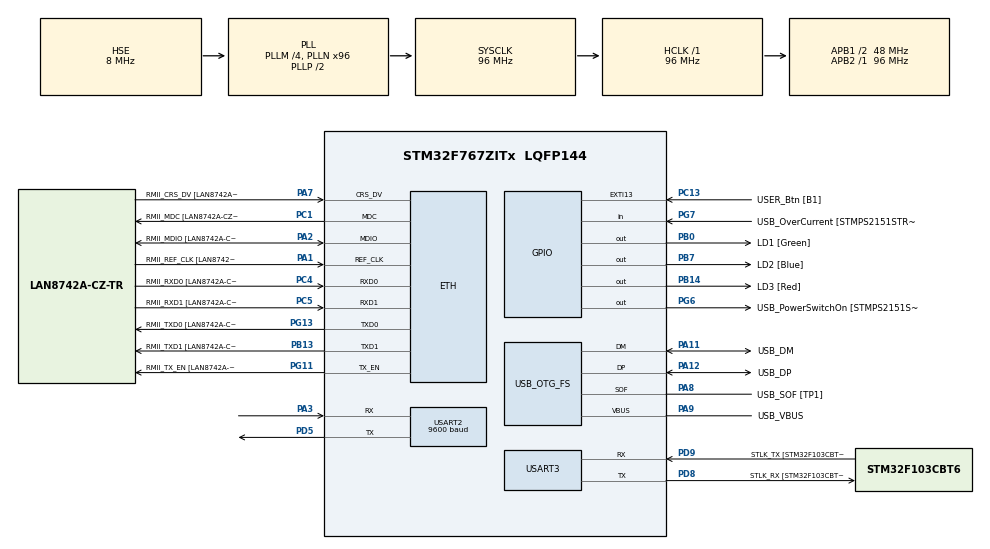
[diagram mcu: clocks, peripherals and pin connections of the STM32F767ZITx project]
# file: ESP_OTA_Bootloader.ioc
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ETH.MediaInterface=HAL_ETH_RMII_MODE
ETH.PHY_Name=LAN8742A_PHY_ADDRESS
ETH.PHY_Value=0
ETH.PhyAddress=0
Mcu.Family=STM32F7
Mcu.Name=STM32F767ZITx
Mcu.Package=LQFP144
NVIC.PriorityGroup=NVIC_PRIORITYGROUP_4
PA1.GPIO_Label=RMII_REF_CLK [LAN8742A-CZ-TR_REFCLK0]
PA1.Mode=RMII
PA1.Signal=ETH_REF_CLK
PA10.GPIO_Label=USB_ID
PA10.Signal=USB_OTG_FS_ID
PA11.GPIO_Label=USB_DM
PA11.Mode=Device_Only
PA11.Signal=USB_OTG_FS_DM
PA12.GPIO_Label=USB_DP
PA12.Mode=Device_Only
PA12.Signal=USB_OTG_FS_DP
PA13.GPIO_Label=TMS
PA13.Mode=Serial_Wire
PA13.Signal=SYS_JTMS-SWDIO
PA14.GPIO_Label=TCK
PA14.Mode=Serial_Wire
PA14.Signal=SYS_JTCK-SWCLK
PA2.GPIO_Label=RMII_MDIO [LAN8742A-CZ-TR_MDIO]
PA2.Mode=RMII
PA2.Signal=ETH_MDIO
PA3.Mode=Asynchronous
PA3.Signal=USART2_RX
PA7.GPIO_Label=RMII_CRS_DV [LAN8742A-CZ-TR_CRS_DV]
PA7.Mode=RMII
PA7.Signal=ETH_CRS_DV
PA8.GPIO_Label=USB_SOF [TP1]
PA8.Mode=Activate_SOF_FS
PA8.Signal=USB_OTG_FS_SOF
PA9.GPIO_Label=USB_VBUS
PA9.Mode=Activate_VBUS
PA9.Signal=USB_OTG_FS_VBUS
PB0.GPIO_Label=LD1 [Green]
PB0.Signal=GPIO_Output
PB13.GPIO_Label=RMII_TXD1 [LAN8742A-CZ-TR_TXD1]
PB13.Mode=RMII
PB13.Signal=ETH_TXD1
PB14.GPIO_Label=LD3 [Red]
PB14.Signal=GPIO_Output
PB3.GPIO_Label=SWO
PB3.Signal=SYS_JTDO-SWO
PB7.GPIO_Label=LD2 [Blue]
PB7.Signal=GPIO_Output
PC1.GPIO_Label=RMII_MDC [LAN8742A-CZ-TR_MDC]
PC1.Mode=RMII
PC1.Signal=ETH_MDC
PC13.GPIO_Label=USER_Btn [B1]
PC13.Signal=GPXTI13
PC14/OSC32_IN.Mode=LSE-External-Oscillator
PC14/OSC32_IN.Signal=RCC_OSC32_IN
PC15/OSC32_OUT.Mode=LSE-External-Oscillator
PC15/OSC32_OUT.Signal=RCC_OSC32_OUT
PC4.GPIO_Label=RMII_RXD0 [LAN8742A-CZ-TR_RXD0]
PC4.Mode=RMII
PC4.Signal=ETH_RXD0
PC5.GPIO_Label=RMII_RXD1 [LAN8742A-CZ-TR_RXD1]
PC5.Mode=RMII
PC5.Signal=ETH_RXD1
PD5.Mode=Asynchronous
PD5.Signal=USART2_TX
PD8.GPIO_Label=STLK_RX [STM32F103CBT6_PA3]
PD8.Mode=Asynchronous
PD8.Signal=USART3_TX
PD9.GPIO_Label=STLK_TX [STM32F103CBT6_PA2]
PD9.Mode=Asynchronous
PD9.Signal=USART3_RX
PG11.GPIO_Label=RMII_TX_EN [LAN8742A-CZ-TR_TXEN]
PG11.Mode=RMII
PG11.Signal=ETH_TX_EN
PG13.GPIO_Label=RMII_TXD0 [LAN8742A-CZ-TR_TXD0]
PG13.Mode=RMII
PG13.Signal=ETH_TXD0
PG6.GPIO_Label=USB_PowerSwitchOn [STMPS2151STR_EN]
PG6.Signal=GPIO_Output
PG7.GPIO_Label=USB_OverCurrent [STMPS2151STR_FAULT]
PG7.Signal=GPIO_Input
PH0/OSC_IN.GPIO_Label=MCO [STM32F103CBT6_PA8]
PH0/OSC_IN.Mode=HSE-External-Clock-Source
PH0/OSC_IN.Signal=RCC_OSC_IN
PH1/OSC_OUT.Mode=HSE-External-Clock-Source
PH1/OSC_OUT.Signal=RCC_OSC_OUT
ProjectManager.HeapSize=0x200
ProjectManager.StackSize=0x400
ProjectManager.TargetToolchain=STM32CubeIDE
RCC.48MHZClocksFreq_Value=24000000
RCC.AHBFreq_Value=96000000
RCC.APB1CLKDivider=RCC_HCLK_DIV2
RCC.APB1Freq_Value=48000000
RCC.APB1TimFreq_Value=96000000
RCC.APB2Freq_Value=96000000
RCC.APB2TimFreq_Value=96000000
RCC.CortexFreq_Value=96000000
RCC.HCLKFreq_Value=96000000
RCC.HSE_VALUE=8000000
RCC.HSI_VALUE=16000000
RCC.PLLM=4
RCC.PLLMUL=RCC_PLL_MUL9
RCC.PLLN=96
RCC.PLLQ=4
RCC.PRESCALERUSB=RCC_USBCLKSOURCE_PLL_DIV1_5
RCC.SYSCLKFreq_VALUE=96000000
RCC.SYSCLKSource=RCC_SYSCLKSOURCE_PLLCLK
RCC.SYSCLKSourceVirtual=RCC_SYSCLKSOURCE_PLLCLK
RCC.USBFreq_Value=48000000
RCC.VCOOutputFreq_Value=192000000
USART2.BaudRate=9600
USART2.VirtualMode-Asynchronous=VM_ASYNC
USART3.VirtualMode-Asynchronous=VM_ASYNC
USB_OTG_FS.VirtualMode=Device_Only
board=NUCLEO-F767ZI

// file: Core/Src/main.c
/* USER CODE BEGIN Header */
/**
  ******************************************************************************
  * @file           : main.c
  * @brief          : Main program body
  ******************************************************************************
  * @attention
  *
  * Copyright (c) 2026 STMicroelectronics.
  * All rights reserved.
  *
  * This software is licensed under terms that can be found in the LICENSE file
  * in the root directory of this software component.
  * If no LICENSE file comes with this software, it is provided AS-IS.
  *
  ******************************************************************************
  */
/* USER CODE END Header */
#include "main.h"
#include "string.h"

/* USER CODE BEGIN PTD */
#define MAIN_APP_ADDRESS 0x08020000

typedef void (*pFunction)(void);
/* USER CODE END PTD */

#if defined ( __ICCARM__ ) /*!< IAR Compiler */
#pragma location=0x2007c000
ETH_DMADescTypeDef  DMARxDscrTab[ETH_RX_DESC_CNT]; /* Ethernet Rx DMA Descriptors */
#pragma location=0x2007c0a0
ETH_DMADescTypeDef  DMATxDscrTab[ETH_TX_DESC_CNT]; /* Ethernet Tx DMA Descriptors */

#elif defined ( __CC_ARM )  /* MDK ARM Compiler */

__attribute__((at(0x2007c000))) ETH_DMADescTypeDef  DMARxDscrTab[ETH_RX_DESC_CNT]; /* Ethernet Rx DMA Descriptors */
__attribute__((at(0x2007c0a0))) ETH_DMADescTypeDef  DMATxDscrTab[ETH_TX_DESC_CNT]; /* Ethernet Tx DMA Descriptors */

#elif defined ( __GNUC__ ) /* GNU Compiler */

ETH_DMADescTypeDef DMARxDscrTab[ETH_RX_DESC_CNT] __attribute__((section(".RxDecripSection"))); /* Ethernet Rx DMA Descriptors */
ETH_DMADescTypeDef DMATxDscrTab[ETH_TX_DESC_CNT] __attribute__((section(".TxDecripSection")));   /* Ethernet Tx DMA Descriptors */
#endif

ETH_TxPacketConfig TxConfig;

ETH_HandleTypeDef heth;

UART_HandleTypeDef huart2;
UART_HandleTypeDef huart3;

PCD_HandleTypeDef hpcd_USB_OTG_FS;

void SystemClock_Config(void);
static void MX_GPIO_Init(void);
static void MX_ETH_Init(void);
static void MX_USART3_UART_Init(void);
static void MX_USB_OTG_FS_PCD_Init(void);
static void MX_USART2_UART_Init(void);

/* USER CODE BEGIN 0 */
void Erase_Application_Flash(void)
{
    FLASH_EraseInitTypeDef EraseInitStruct;
    uint32_t SectorError = 0;

    printf("Rozpoczynam kasowanie Sektora 5 (0x08020000)...\r\n");

    // 1. Zdejmujemy sprzętową kłódkę z pamięci Flash
    HAL_FLASH_Unlock();

    // 2. Konfigurujemy, co chcemy usunąć
    EraseInitStruct.TypeErase = FLASH_TYPEERASE_SECTORS;
    EraseInitStruct.VoltageRange = FLASH_VOLTAGE_RANGE_3; // Napięcie Nucleo (3.3V)
    EraseInitStruct.Sector = FLASH_SECTOR_5;              // Tu zaczyna się nasza aplikacja
    EraseInitStruct.NbSectors = 1;                        // Kasujemy 1 sektor (128 KB wolnego miejsca)

    // 3. Wykonujemy egzekucję
    if (HAL_FLASHEx_Erase(&EraseInitStruct, &SectorError) != HAL_OK)
    {
        printf("BLAD: Nie udalo sie wykasowac pamieci Flash!\r\n");
    }
    else
    {
        printf("SUKCES: Sektor 5 jest czysty i gotowy na nowy kod!\r\n");
    }

    // 4. Zakładamy kłódkę z powrotem
    HAL_FLASH_Lock();
}

void Write_Application_Flash(uint32_t start_address, uint8_t *data, uint16_t length)
{
    // 1. Otwieramy dostęp do pamięci
    HAL_FLASH_Unlock();

    // 2. Wypalamy bajt po bajcie (w potężnym STM32F7 robimy to ostrożnie)
    for (uint16_t i = 0; i < length; i++)
    {
        // FLASH_TYPEPROGRAM_BYTE oznacza, że zapisujemy równo 1 bajt (8 bitów)
        if (HAL_FLASH_Program(FLASH_TYPEPROGRAM_BYTE, start_address + i, data[i]) != HAL_OK)
        {
            printf("BLAD: Zapis do Flash nie powiodl sie na adresie 0x%lX\r\n", start_address + i);
            break;
        }
    }

    // 3. Zamykamy pamięć
    HAL_FLASH_Lock();
}
/* USER CODE END 0 */

int main(void)
{

  /* MCU Configuration--------------------------------------------------------*/

  /* Reset of all peripherals, Initializes the Flash interface and the Systick. */
  HAL_Init();

  /* Configure the system clock */
  SystemClock_Config();

  /* Initialize all configured peripherals */
  MX_GPIO_Init();
  MX_ETH_Init();
  MX_USART3_UART_Init();
  MX_USB_OTG_FS_PCD_Init();
  MX_USART2_UART_Init();
  /* USER CODE BEGIN 2 */

  HAL_GPIO_WritePin(LD2_GPIO_Port, LD2_Pin, GPIO_PIN_SET);
    Erase_Application_Flash();

    // WYŚLIJ SYGNAŁ START DO ESP8266
    uint8_t start_signal = 'S';
    HAL_UART_Transmit(&huart2, &start_signal, 1, 100);

    char msg_wait[] = "Wyslano START. Czekam na dane z ESP...\r\n";
    HAL_UART_Transmit(&huart3, (uint8_t*)msg_wait, strlen(msg_wait), 1000);

    uint8_t rx_byte;
    uint32_t current_address = MAIN_APP_ADDRESS;
    uint32_t timeout_counter = 0;
    uint8_t receiving_active = 0;

    // Odblokowujemy Flash do zapisu
    HAL_FLASH_Unlock();

    while(1)
      {
          if (HAL_UART_Receive(&huart2, &rx_byte, 1, 10) == HAL_OK)
          {
              receiving_active = 1;
              HAL_FLASH_Program(FLASH_TYPEPROGRAM_BYTE, current_address, rx_byte);
              current_address++;
              timeout_counter = 0;
          }
          else
          {
              timeout_counter++;
              // Jeśli dane już płynęły, czekamy 3 sekundy na koniec (300 * 10ms)
              if (receiving_active == 1 && timeout_counter > 300) break;
              // Jeśli dane jeszcze NIE zaczęły płynąć, czekamy do 60 sekund na start (6000 * 10ms)
              if (receiving_active == 0 && timeout_counter > 6000) break;
          }
      }
      HAL_FLASH_Lock();

    // ==========================================================
    // 4. SPRAWDZENIE APLIKACJI I SKOK (Twój stary kod)
    // ==========================================================
    if (((*(__IO uint32_t*)MAIN_APP_ADDRESS) & 0xFF000000 ) == 0x20000000)
    {
        char msg_jump[] = "Aplikacja poprawna! Skok za 3... 2... 1...\r\n";
        HAL_UART_Transmit(&huart3, (uint8_t*)msg_jump, strlen(msg_jump), 1000);

        HAL_GPIO_WritePin(LD2_GPIO_Port, LD2_Pin, GPIO_PIN_RESET); // Gasimy diodę przed skokiem
        HAL_Delay(1000);

        uint32_t JumpAddress = *(__IO uint32_t*) (MAIN_APP_ADDRESS + 4);
        pFunction JumpToApplication = (pFunction) JumpAddress;

        // Sprzątanie procesora
        HAL_UART_DeInit(&huart3);
        HAL_UART_DeInit(&huart2); // Odłączamy też UART od ESP
        HAL_RCC_DeInit();
        HAL_DeInit();
        SysTick->CTRL = 0;
        SysTick->LOAD = 0;
        SysTick->VAL = 0;
        __disable_irq();

        // Skok
        __set_MSP(*(__IO uint32_t*) MAIN_APP_ADDRESS);
        JumpToApplication();
    }
    else
    {
        char msg_err[] = "BRAK APLIKACJI! Zostaje w Bootloaderze.\r\n";
        HAL_UART_Transmit(&huart3, (uint8_t*)msg_err, strlen(msg_err), 1000);
    }

  /* USER CODE END 2 */

  /* Infinite loop */
  while (1)
  {

  }
}

void SystemClock_Config(void)
{
  RCC_OscInitTypeDef RCC_OscInitStruct = {0};
  RCC_ClkInitTypeDef RCC_ClkInitStruct = {0};

  /** Configure LSE Drive Capability
  */
  HAL_PWR_EnableBkUpAccess();

  /** Configure the main internal regulator output voltage
  */
  __HAL_RCC_PWR_CLK_ENABLE();
  __HAL_PWR_VOLTAGESCALING_CONFIG(PWR_REGULATOR_VOLTAGE_SCALE3);

  /** Initializes the RCC Oscillators according to the specified parameters
  * in the RCC_OscInitTypeDef structure.
  */
  RCC_OscInitStruct.OscillatorType = RCC_OSCILLATORTYPE_HSE;
  RCC_OscInitStruct.HSEState = RCC_HSE_BYPASS;
  RCC_OscInitStruct.PLL.PLLState = RCC_PLL_ON;
  RCC_OscInitStruct.PLL.PLLSource = RCC_PLLSOURCE_HSE;
  RCC_OscInitStruct.PLL.PLLM = 4;
  RCC_OscInitStruct.PLL.PLLN = 96;
  RCC_OscInitStruct.PLL.PLLP = RCC_PLLP_DIV2;
  RCC_OscInitStruct.PLL.PLLQ = 4;
  RCC_OscInitStruct.PLL.PLLR = 2;
  if (HAL_RCC_OscConfig(&RCC_OscInitStruct) != HAL_OK)
  {
    Error_Handler();
  }

  /** Activate the Over-Drive mode
  */
  if (HAL_PWREx_EnableOverDrive() != HAL_OK)
  {
    Error_Handler();
  }

  /** Initializes the CPU, AHB and APB buses clocks
  */
  RCC_ClkInitStruct.ClockType = RCC_CLOCKTYPE_HCLK|RCC_CLOCKTYPE_SYSCLK
                              |RCC_CLOCKTYPE_PCLK1|RCC_CLOCKTYPE_PCLK2;
  RCC_ClkInitStruct.SYSCLKSource = RCC_SYSCLKSOURCE_PLLCLK;
  RCC_ClkInitStruct.AHBCLKDivider = RCC_SYSCLK_DIV1;
  RCC_ClkInitStruct.APB1CLKDivider = RCC_HCLK_DIV2;
  RCC_ClkInitStruct.APB2CLKDivider = RCC_HCLK_DIV1;

  if (HAL_RCC_ClockConfig(&RCC_ClkInitStruct, FLASH_LATENCY_3) != HAL_OK)
  {
    Error_Handler();
  }
}

static void MX_ETH_Init(void)
{

   static uint8_t MACAddr[6];

  heth.Instance = ETH;
  MACAddr[0] = 0x00;
  MACAddr[1] = 0x80;
  MACAddr[2] = 0xE1;
  MACAddr[3] = 0x00;
  MACAddr[4] = 0x00;
  MACAddr[5] = 0x00;
  heth.Init.MACAddr = &MACAddr[0];
  heth.Init.MediaInterface = HAL_ETH_RMII_MODE;
  heth.Init.TxDesc = DMATxDscrTab;
  heth.Init.RxDesc = DMARxDscrTab;
  heth.Init.RxBuffLen = 1524;

  if (HAL_ETH_Init(&heth) != HAL_OK)
  {
    Error_Handler();
  }

  memset(&TxConfig, 0 , sizeof(ETH_TxPacketConfig));
  TxConfig.Attributes = ETH_TX_PACKETS_FEATURES_CSUM | ETH_TX_PACKETS_FEATURES_CRCPAD;
  TxConfig.ChecksumCtrl = ETH_CHECKSUM_IPHDR_PAYLOAD_INSERT_PHDR_CALC;
  TxConfig.CRCPadCtrl = ETH_CRC_PAD_INSERT;

}

static void MX_USART2_UART_Init(void)
{

  huart2.Instance = USART2;
  huart2.Init.BaudRate = 9600;
  huart2.Init.WordLength = UART_WORDLENGTH_8B;
  huart2.Init.StopBits = UART_STOPBITS_1;
  huart2.Init.Parity = UART_PARITY_NONE;
  huart2.Init.Mode = UART_MODE_TX_RX;
  huart2.Init.HwFlowCtl = UART_HWCONTROL_NONE;
  huart2.Init.OverSampling = UART_OVERSAMPLING_16;
  huart2.Init.OneBitSampling = UART_ONE_BIT_SAMPLE_DISABLE;
  huart2.AdvancedInit.AdvFeatureInit = UART_ADVFEATURE_NO_INIT;
  if (HAL_UART_Init(&huart2) != HAL_OK)
  {
    Error_Handler();
  }

}

static void MX_USART3_UART_Init(void)
{

  huart3.Instance = USART3;
  huart3.Init.BaudRate = 115200;
  huart3.Init.WordLength = UART_WORDLENGTH_8B;
  huart3.Init.StopBits = UART_STOPBITS_1;
  huart3.Init.Parity = UART_PARITY_NONE;
  huart3.Init.Mode = UART_MODE_TX_RX;
  huart3.Init.HwFlowCtl = UART_HWCONTROL_NONE;
  huart3.Init.OverSampling = UART_OVERSAMPLING_16;
  huart3.Init.OneBitSampling = UART_ONE_BIT_SAMPLE_DISABLE;
  huart3.AdvancedInit.AdvFeatureInit = UART_ADVFEATURE_NO_INIT;
  if (HAL_UART_Init(&huart3) != HAL_OK)
  {
    Error_Handler();
  }

}

static void MX_USB_OTG_FS_PCD_Init(void)
{

  hpcd_USB_OTG_FS.Instance = USB_OTG_FS;
  hpcd_USB_OTG_FS.Init.dev_endpoints = 6;
  hpcd_USB_OTG_FS.Init.speed = PCD_SPEED_FULL;
  hpcd_USB_OTG_FS.Init.dma_enable = DISABLE;
  hpcd_USB_OTG_FS.Init.phy_itface = PCD_PHY_EMBEDDED;
  hpcd_USB_OTG_FS.Init.Sof_enable = ENABLE;
  hpcd_USB_OTG_FS.Init.low_power_enable = DISABLE;
  hpcd_USB_OTG_FS.Init.lpm_enable = DISABLE;
  hpcd_USB_OTG_FS.Init.vbus_sensing_enable = ENABLE;
  hpcd_USB_OTG_FS.Init.use_dedicated_ep1 = DISABLE;
  if (HAL_PCD_Init(&hpcd_USB_OTG_FS) != HAL_OK)
  {
    Error_Handler();
  }

}

static void MX_GPIO_Init(void)
{
  GPIO_InitTypeDef GPIO_InitStruct = {0};

  /* GPIO Ports Clock Enable */
  __HAL_RCC_GPIOC_CLK_ENABLE();
  __HAL_RCC_GPIOH_CLK_ENABLE();
  __HAL_RCC_GPIOA_CLK_ENABLE();
  __HAL_RCC_GPIOB_CLK_ENABLE();
  __HAL_RCC_GPIOD_CLK_ENABLE();
  __HAL_RCC_GPIOG_CLK_ENABLE();

  /*Configure GPIO pin Output Level */
  HAL_GPIO_WritePin(GPIOB, LD1_Pin|LD3_Pin|LD2_Pin, GPIO_PIN_RESET);

  /*Configure GPIO pin Output Level */
  HAL_GPIO_WritePin(USB_PowerSwitchOn_GPIO_Port, USB_PowerSwitchOn_Pin, GPIO_PIN_RESET);

  /*Configure GPIO pin : USER_Btn_Pin */
  GPIO_InitStruct.Pin = USER_Btn_Pin;
  GPIO_InitStruct.Mode = GPIO_MODE_IT_RISING;
  GPIO_InitStruct.Pull = GPIO_NOPULL;
  HAL_GPIO_Init(USER_Btn_GPIO_Port, &GPIO_InitStruct);

  /*Configure GPIO pins : LD1_Pin LD3_Pin LD2_Pin */
  GPIO_InitStruct.Pin = LD1_Pin|LD3_Pin|LD2_Pin;
  GPIO_InitStruct.Mode = GPIO_MODE_OUTPUT_PP;
  GPIO_InitStruct.Pull = GPIO_NOPULL;
  GPIO_InitStruct.Speed = GPIO_SPEED_FREQ_LOW;
  HAL_GPIO_Init(GPIOB, &GPIO_InitStruct);

  /*Configure GPIO pin : USB_PowerSwitchOn_Pin */
  GPIO_InitStruct.Pin = USB_PowerSwitchOn_Pin;
  GPIO_InitStruct.Mode = GPIO_MODE_OUTPUT_PP;
  GPIO_InitStruct.Pull = GPIO_NOPULL;
  GPIO_InitStruct.Speed = GPIO_SPEED_FREQ_LOW;
  HAL_GPIO_Init(USB_PowerSwitchOn_GPIO_Port, &GPIO_InitStruct);

  /*Configure GPIO pin : USB_OverCurrent_Pin */
  GPIO_InitStruct.Pin = USB_OverCurrent_Pin;
  GPIO_InitStruct.Mode = GPIO_MODE_INPUT;
  GPIO_InitStruct.Pull = GPIO_NOPULL;
  HAL_GPIO_Init(USB_OverCurrent_GPIO_Port, &GPIO_InitStruct);

}

void Error_Handler(void)
{
  __disable_irq();
  while (1)
  {
  }
}
